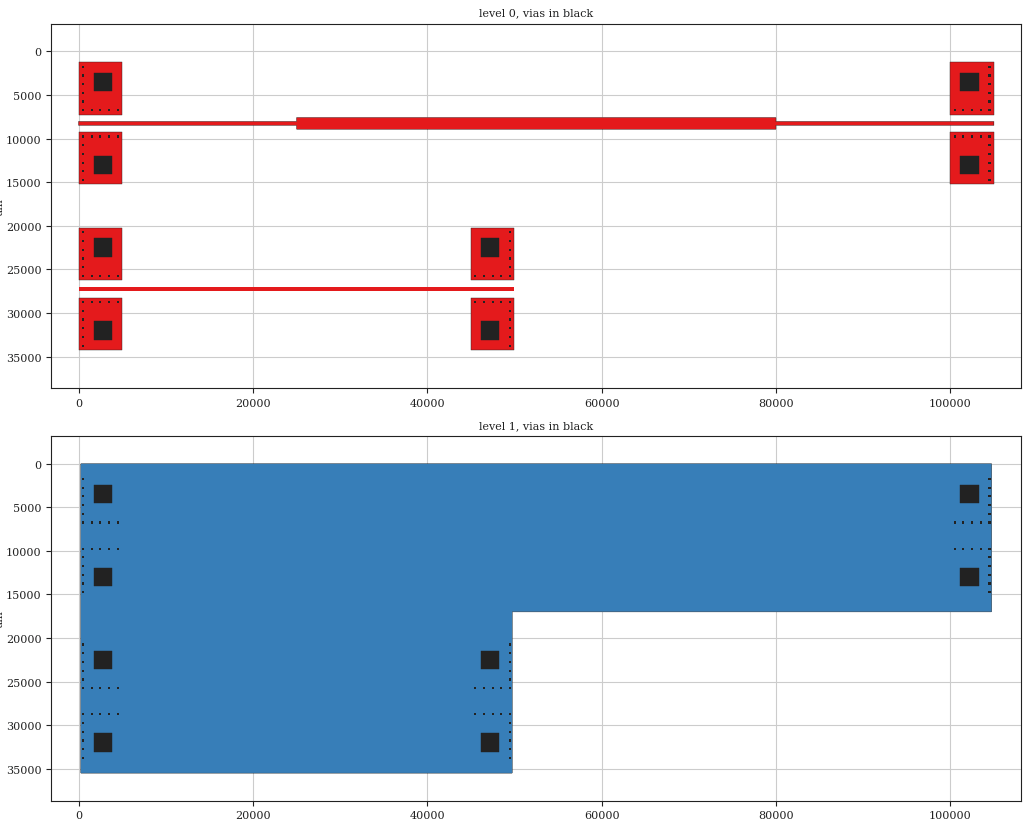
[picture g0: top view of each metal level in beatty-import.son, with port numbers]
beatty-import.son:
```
FTYP SONPROJ 19 ! Sonnet Project File
VER 18.56
HEADER
LIC antikernel2.1.51813
DAT 12/23/2022 09:45:33
BUILT_BY_CREATED xgeom 18.56 12/18/2022 19:56:31
BUILT_BY_SAVED sonnet 18.56
MDATE 12/23/2022 09:45:33
HDATE 12/23/2022 09:45:33
ANN Created by dxfgeo, Sonnet Software Inc.
END HEADER
DIM
ANG DEG
CAP PF
CON /OH
FREQ GHZ
IND NH
LNG UM
RES OH
END DIM
CONTROL
VARSWP
OPTIONS  -dj
SPEED 1
CACHE_ABS 2
Q_ACC N
END CONTROL
GEO
TMET "Lossless" 0 SUP 0 0 0 0
BMET "Lossless" 0 SUP 0 0 0 0
MET "Copper_1oz+plated_thick_up" 1 TMM 58000000 0.5 43.2 2
MET "Copper_1oz+plated_thin" 4 NOR 58000000 0.5 43.2 
MET "Copper_0.5oz_thin" 2 NOR 58000000 0.5 17.5 
MET "Copper_1oz+plated_thick_down" 3 TMM 58000000 0.5 43.2 2 CDVY TDWN
BOX 4 105000 35500 8400 2840 20 0
      10000 1 1 0 0 0 0 "Air"
      202.1 3.61 1 0.0092 0 0 0 "Isola_FR408HR"
      1193.8 3.61 1 0.0092 0 0 0 "Isola_FR408HR"
      202.1 3.61 1 0.0092 0 0 0 "Isola_FR408HR"
      10000 1 1 0 0 0 0 "Air"
TECHLAY METAL F.Cu_thick <UNSPECIFIED> -1 -65534 CAD F.Cu drawing 
0 0 0 N 112 1 1 100 100 0 0 0 Y
END
END
TECHLAY METAL F.Cu_thin L1D0 -2 -65534 CAD F.Cu_thin drawing 
0 0 1 N 114 1 1 100 100 0 0 0 Y
END
END
TECHLAY VIA Via1 L3D0 -7 -65534 CAD Via1 drawing 
VIA POLYGON
0 0 -1 N 116 1 1 100 100 0 0 0 Y
TOLEVEL 3 RING NOCOVERS
END
END
TECHLAY METAL In1.Cu L2D0 -3 -65534 CAD In1.Cu drawing 
1 0 2 N 119 1 1 100 100 0 0 0 Y
END
END
TECHLAY METAL In2.Cu <UNSPECIFIED> -4 -65534 CAD In2.Cu drawing 
2 0 2 N 122 1 1 100 100 0 0 0 Y
END
END
TECHLAY METAL B.Cu_thick <UNSPECIFIED> -5 -65534 CAD B.Cu drawing 
3 0 3 N 125 1 1 100 100 0 0 0 Y
END
END
TECHLAY METAL B.Cu_thin <UNSPECIFIED> -6 -65534 CAD B.Cu_thin drawing 
3 0 1 N 127 1 1 100 100 0 0 0 Y
END
END
LORGN 0 35500 U 
NUM 99
0 5 1 N 1 1 1 100 100 0 0 0 Y
USER_DAT FromImport
0 34250
0 28250
5000 28250
5000 34250
0 34250
END
0 5 1 N 2 1 1 100 100 0 0 0 Y
USER_DAT FromImport
45000 34250
45000 28250
50000 28250
50000 34250
45000 34250
END
0 5 1 N 3 1 1 100 100 0 0 0 Y
USER_DAT FromImport
0 27475
0 27025
50000 27025
50000 27475
0 27475
END
0 5 1 N 4 1 1 100 100 0 0 0 Y
USER_DAT FromImport
0 26250
0 20250
5000 20250
5000 26250
0 26250
END
0 5 1 N 5 1 1 100 100 0 0 0 Y
USER_DAT FromImport
45000 26250
45000 20250
50000 20250
50000 26250
45000 26250
END
0 5 1 N 6 1 1 100 100 0 0 0 Y
USER_DAT FromImport
0 15250
0 9250
5000 9250
5000 15250
0 15250
END
0 5 1 N 7 1 1 100 100 0 0 0 Y
USER_DAT FromImport
100000 15250
100000 9250
105000 9250
105000 15250
100000 15250
END
0 21 1 N 8 1 1 100 100 0 0 0 Y
USER_DAT FromImport
25049 8925
25014 8911
25000 8876
25000 8475
0 8475
0 8025
25000 8025
25000 7624
25014 7589
25049 7575
79951 7575
79986 7589
80000 7624
80000 8025
105000 8025
105000 8475
80000 8475
80000 8876
79986 8911
79951 8925
25049 8925
END
0 5 1 N 9 1 1 100 100 0 0 0 Y
USER_DAT FromImport
0 7250
0 1250
5000 1250
5000 7250
0 7250
END
0 5 1 N 10 1 1 100 100 0 0 0 Y
USER_DAT FromImport
100000 7250
100000 1250
105000 1250
105000 7250
100000 7250
END
VIA POLYGON
0 5 -1 N 12 1 1 100 100 0 0 0 Y
TOLEVEL 3 RING NOCOVERS
USER_DAT FromImport
375 33875
375 33625
625 33625
625 33875
375 33875
END
VIA POLYGON
0 5 -1 N 13 1 1 100 100 0 0 0 Y
TOLEVEL 3 RING NOCOVERS
USER_DAT FromImport
49375 33875
49375 33625
49625 33625
49625 33875
49375 33875
END
VIA POLYGON
0 5 -1 N 14 1 1 100 100 0 0 0 Y
TOLEVEL 3 RING NOCOVERS
USER_DAT FromImport
375 32875
375 32625
625 32625
625 32875
375 32875
END
VIA POLYGON
0 5 -1 N 15 1 1 100 100 0 0 0 Y
TOLEVEL 3 RING NOCOVERS
USER_DAT FromImport
49375 32875
49375 32625
49625 32625
49625 32875
49375 32875
END
VIA POLYGON
0 5 -1 N 16 1 1 100 100 0 0 0 Y
TOLEVEL 3 RING NOCOVERS
USER_DAT FromImport
375 31875
375 31625
625 31625
625 31875
375 31875
END
VIA POLYGON
0 5 -1 N 17 1 1 100 100 0 0 0 Y
TOLEVEL 3 RING NOCOVERS
USER_DAT FromImport
49375 31875
49375 31625
49625 31625
49625 31875
49375 31875
END
VIA POLYGON
0 5 -1 N 18 1 1 100 100 0 0 0 Y
TOLEVEL 3 RING NOCOVERS
USER_DAT FromImport
1750 33050
1750 30950
3850 30950
3850 33050
1750 33050
END
VIA POLYGON
0 5 -1 N 19 1 1 100 100 0 0 0 Y
TOLEVEL 3 RING NOCOVERS
USER_DAT FromImport
46150 33050
46150 30950
48250 30950
48250 33050
46150 33050
END
VIA POLYGON
0 5 -1 N 20 1 1 100 100 0 0 0 Y
TOLEVEL 3 RING NOCOVERS
USER_DAT FromImport
375 30875
375 30625
625 30625
625 30875
375 30875
END
VIA POLYGON
0 5 -1 N 21 1 1 100 100 0 0 0 Y
TOLEVEL 3 RING NOCOVERS
USER_DAT FromImport
49375 30875
49375 30625
49625 30625
49625 30875
49375 30875
END
VIA POLYGON
0 5 -1 N 22 1 1 100 100 0 0 0 Y
TOLEVEL 3 RING NOCOVERS
USER_DAT FromImport
375 29875
375 29625
625 29625
625 29875
375 29875
END
VIA POLYGON
0 5 -1 N 23 1 1 100 100 0 0 0 Y
TOLEVEL 3 RING NOCOVERS
USER_DAT FromImport
49375 29875
49375 29625
49625 29625
49625 29875
49375 29875
END
VIA POLYGON
0 5 -1 N 24 1 1 100 100 0 0 0 Y
TOLEVEL 3 RING NOCOVERS
USER_DAT FromImport
375 28875
375 28625
625 28625
625 28875
375 28875
END
VIA POLYGON
0 5 -1 N 25 1 1 100 100 0 0 0 Y
TOLEVEL 3 RING NOCOVERS
USER_DAT FromImport
1375 28875
1375 28625
1625 28625
1625 28875
1375 28875
END
VIA POLYGON
0 5 -1 N 26 1 1 100 100 0 0 0 Y
TOLEVEL 3 RING NOCOVERS
USER_DAT FromImport
2375 28875
2375 28625
2625 28625
2625 28875
2375 28875
END
VIA POLYGON
0 5 -1 N 27 1 1 100 100 0 0 0 Y
TOLEVEL 3 RING NOCOVERS
USER_DAT FromImport
3375 28875
3375 28625
3625 28625
3625 28875
3375 28875
END
VIA POLYGON
0 5 -1 N 28 1 1 100 100 0 0 0 Y
TOLEVEL 3 RING NOCOVERS
USER_DAT FromImport
4375 28875
4375 28625
4625 28625
4625 28875
4375 28875
END
VIA POLYGON
0 5 -1 N 29 1 1 100 100 0 0 0 Y
TOLEVEL 3 RING NOCOVERS
USER_DAT FromImport
45375 28875
45375 28625
45625 28625
45625 28875
45375 28875
END
VIA POLYGON
0 5 -1 N 30 1 1 100 100 0 0 0 Y
TOLEVEL 3 RING NOCOVERS
USER_DAT FromImport
46375 28875
46375 28625
46625 28625
46625 28875
46375 28875
END
VIA POLYGON
0 5 -1 N 31 1 1 100 100 0 0 0 Y
TOLEVEL 3 RING NOCOVERS
USER_DAT FromImport
47375 28875
47375 28625
47625 28625
47625 28875
47375 28875
END
VIA POLYGON
0 5 -1 N 32 1 1 100 100 0 0 0 Y
TOLEVEL 3 RING NOCOVERS
USER_DAT FromImport
48375 28875
48375 28625
48625 28625
48625 28875
48375 28875
END
VIA POLYGON
0 5 -1 N 33 1 1 100 100 0 0 0 Y
TOLEVEL 3 RING NOCOVERS
USER_DAT FromImport
49375 28875
49375 28625
49625 28625
49625 28875
49375 28875
END
VIA POLYGON
0 5 -1 N 34 1 1 100 100 0 0 0 Y
TOLEVEL 3 RING NOCOVERS
USER_DAT FromImport
375 25875
375 25625
625 25625
625 25875
375 25875
END
VIA POLYGON
0 5 -1 N 35 1 1 100 100 0 0 0 Y
TOLEVEL 3 RING NOCOVERS
USER_DAT FromImport
1375 25875
1375 25625
1625 25625
1625 25875
1375 25875
END
VIA POLYGON
0 5 -1 N 36 1 1 100 100 0 0 0 Y
TOLEVEL 3 RING NOCOVERS
USER_DAT FromImport
2375 25875
2375 25625
2625 25625
2625 25875
2375 25875
END
VIA POLYGON
0 5 -1 N 37 1 1 100 100 0 0 0 Y
TOLEVEL 3 RING NOCOVERS
USER_DAT FromImport
3375 25875
3375 25625
3625 25625
3625 25875
3375 25875
END
VIA POLYGON
0 5 -1 N 38 1 1 100 100 0 0 0 Y
TOLEVEL 3 RING NOCOVERS
USER_DAT FromImport
4375 25875
4375 25625
4625 25625
4625 25875
4375 25875
END
VIA POLYGON
0 5 -1 N 39 1 1 100 100 0 0 0 Y
TOLEVEL 3 RING NOCOVERS
USER_DAT FromImport
45375 25875
45375 25625
45625 25625
45625 25875
45375 25875
END
VIA POLYGON
0 5 -1 N 40 1 1 100 100 0 0 0 Y
TOLEVEL 3 RING NOCOVERS
USER_DAT FromImport
46375 25875
46375 25625
46625 25625
46625 25875
46375 25875
END
VIA POLYGON
0 5 -1 N 41 1 1 100 100 0 0 0 Y
TOLEVEL 3 RING NOCOVERS
USER_DAT FromImport
47375 25875
47375 25625
47625 25625
47625 25875
47375 25875
END
VIA POLYGON
0 5 -1 N 42 1 1 100 100 0 0 0 Y
TOLEVEL 3 RING NOCOVERS
USER_DAT FromImport
48375 25875
48375 25625
48625 25625
48625 25875
48375 25875
END
VIA POLYGON
0 5 -1 N 43 1 1 100 100 0 0 0 Y
TOLEVEL 3 RING NOCOVERS
USER_DAT FromImport
49375 25875
49375 25625
49625 25625
49625 25875
49375 25875
END
VIA POLYGON
0 5 -1 N 44 1 1 100 100 0 0 0 Y
TOLEVEL 3 RING NOCOVERS
USER_DAT FromImport
375 24875
375 24625
625 24625
625 24875
375 24875
END
VIA POLYGON
0 5 -1 N 45 1 1 100 100 0 0 0 Y
TOLEVEL 3 RING NOCOVERS
USER_DAT FromImport
49375 24875
49375 24625
49625 24625
49625 24875
49375 24875
END
VIA POLYGON
0 5 -1 N 46 1 1 100 100 0 0 0 Y
TOLEVEL 3 RING NOCOVERS
USER_DAT FromImport
375 23875
375 23625
625 23625
625 23875
375 23875
END
VIA POLYGON
0 5 -1 N 47 1 1 100 100 0 0 0 Y
TOLEVEL 3 RING NOCOVERS
USER_DAT FromImport
49375 23875
49375 23625
49625 23625
49625 23875
49375 23875
END
VIA POLYGON
0 5 -1 N 48 1 1 100 100 0 0 0 Y
TOLEVEL 3 RING NOCOVERS
USER_DAT FromImport
375 22875
375 22625
625 22625
625 22875
375 22875
END
VIA POLYGON
0 5 -1 N 49 1 1 100 100 0 0 0 Y
TOLEVEL 3 RING NOCOVERS
USER_DAT FromImport
49375 22875
49375 22625
49625 22625
49625 22875
49375 22875
END
VIA POLYGON
0 5 -1 N 50 1 1 100 100 0 0 0 Y
TOLEVEL 3 RING NOCOVERS
USER_DAT FromImport
375 21875
375 21625
625 21625
625 21875
375 21875
END
VIA POLYGON
0 5 -1 N 51 1 1 100 100 0 0 0 Y
TOLEVEL 3 RING NOCOVERS
USER_DAT FromImport
49375 21875
49375 21625
49625 21625
49625 21875
49375 21875
END
VIA POLYGON
0 5 -1 N 52 1 1 100 100 0 0 0 Y
TOLEVEL 3 RING NOCOVERS
USER_DAT FromImport
1750 23550
1750 21450
3850 21450
3850 23550
1750 23550
END
VIA POLYGON
0 5 -1 N 53 1 1 100 100 0 0 0 Y
TOLEVEL 3 RING NOCOVERS
USER_DAT FromImport
46150 23550
46150 21450
48250 21450
48250 23550
46150 23550
END
VIA POLYGON
0 5 -1 N 54 1 1 100 100 0 0 0 Y
TOLEVEL 3 RING NOCOVERS
USER_DAT FromImport
375 20875
375 20625
625 20625
625 20875
375 20875
END
VIA POLYGON
0 5 -1 N 55 1 1 100 100 0 0 0 Y
TOLEVEL 3 RING NOCOVERS
USER_DAT FromImport
49375 20875
49375 20625
49625 20625
49625 20875
49375 20875
END
VIA POLYGON
0 5 -1 N 56 1 1 100 100 0 0 0 Y
TOLEVEL 3 RING NOCOVERS
USER_DAT FromImport
375 14875
375 14625
625 14625
625 14875
375 14875
END
VIA POLYGON
0 5 -1 N 57 1 1 100 100 0 0 0 Y
TOLEVEL 3 RING NOCOVERS
USER_DAT FromImport
104375 14875
104375 14625
104625 14625
104625 14875
104375 14875
END
VIA POLYGON
0 5 -1 N 58 1 1 100 100 0 0 0 Y
TOLEVEL 3 RING NOCOVERS
USER_DAT FromImport
375 13875
375 13625
625 13625
625 13875
375 13875
END
VIA POLYGON
0 5 -1 N 59 1 1 100 100 0 0 0 Y
TOLEVEL 3 RING NOCOVERS
USER_DAT FromImport
104375 13875
104375 13625
104625 13625
104625 13875
104375 13875
END
VIA POLYGON
0 5 -1 N 60 1 1 100 100 0 0 0 Y
TOLEVEL 3 RING NOCOVERS
USER_DAT FromImport
375 12875
375 12625
625 12625
625 12875
375 12875
END
VIA POLYGON
0 5 -1 N 61 1 1 100 100 0 0 0 Y
TOLEVEL 3 RING NOCOVERS
USER_DAT FromImport
104375 12875
104375 12625
104625 12625
104625 12875
104375 12875
END
VIA POLYGON
0 5 -1 N 62 1 1 100 100 0 0 0 Y
TOLEVEL 3 RING NOCOVERS
USER_DAT FromImport
1750 14050
1750 11950
3850 11950
3850 14050
1750 14050
END
VIA POLYGON
0 5 -1 N 63 1 1 100 100 0 0 0 Y
TOLEVEL 3 RING NOCOVERS
USER_DAT FromImport
101150 14050
101150 11950
103250 11950
103250 14050
101150 14050
END
VIA POLYGON
0 5 -1 N 64 1 1 100 100 0 0 0 Y
TOLEVEL 3 RING NOCOVERS
USER_DAT FromImport
375 11875
375 11625
625 11625
625 11875
375 11875
END
VIA POLYGON
0 5 -1 N 65 1 1 100 100 0 0 0 Y
TOLEVEL 3 RING NOCOVERS
USER_DAT FromImport
104375 11875
104375 11625
104625 11625
104625 11875
104375 11875
END
VIA POLYGON
0 5 -1 N 66 1 1 100 100 0 0 0 Y
TOLEVEL 3 RING NOCOVERS
USER_DAT FromImport
375 10875
375 10625
625 10625
625 10875
375 10875
END
VIA POLYGON
0 5 -1 N 67 1 1 100 100 0 0 0 Y
TOLEVEL 3 RING NOCOVERS
USER_DAT FromImport
104375 10875
104375 10625
104625 10625
104625 10875
104375 10875
END
VIA POLYGON
0 5 -1 N 68 1 1 100 100 0 0 0 Y
TOLEVEL 3 RING NOCOVERS
USER_DAT FromImport
375 9875
375 9625
625 9625
625 9875
375 9875
END
VIA POLYGON
0 5 -1 N 69 1 1 100 100 0 0 0 Y
TOLEVEL 3 RING NOCOVERS
USER_DAT FromImport
1375 9875
1375 9625
1625 9625
1625 9875
1375 9875
END
VIA POLYGON
0 5 -1 N 70 1 1 100 100 0 0 0 Y
TOLEVEL 3 RING NOCOVERS
USER_DAT FromImport
2375 9875
2375 9625
2625 9625
2625 9875
2375 9875
END
VIA POLYGON
0 5 -1 N 71 1 1 100 100 0 0 0 Y
TOLEVEL 3 RING NOCOVERS
USER_DAT FromImport
3375 9875
3375 9625
3625 9625
3625 9875
3375 9875
END
VIA POLYGON
0 5 -1 N 72 1 1 100 100 0 0 0 Y
TOLEVEL 3 RING NOCOVERS
USER_DAT FromImport
4375 9875
4375 9625
4625 9625
4625 9875
4375 9875
END
VIA POLYGON
0 5 -1 N 73 1 1 100 100 0 0 0 Y
TOLEVEL 3 RING NOCOVERS
USER_DAT FromImport
100375 9875
100375 9625
100625 9625
100625 9875
100375 9875
END
VIA POLYGON
0 5 -1 N 74 1 1 100 100 0 0 0 Y
TOLEVEL 3 RING NOCOVERS
USER_DAT FromImport
101375 9875
101375 9625
101625 9625
101625 9875
101375 9875
END
VIA POLYGON
0 5 -1 N 75 1 1 100 100 0 0 0 Y
TOLEVEL 3 RING NOCOVERS
USER_DAT FromImport
102375 9875
102375 9625
102625 9625
102625 9875
102375 9875
END
VIA POLYGON
0 5 -1 N 76 1 1 100 100 0 0 0 Y
TOLEVEL 3 RING NOCOVERS
USER_DAT FromImport
103375 9875
103375 9625
103625 9625
103625 9875
103375 9875
END
VIA POLYGON
0 5 -1 N 77 1 1 100 100 0 0 0 Y
TOLEVEL 3 RING NOCOVERS
USER_DAT FromImport
104375 9875
104375 9625
104625 9625
104625 9875
104375 9875
END
VIA POLYGON
0 5 -1 N 78 1 1 100 100 0 0 0 Y
TOLEVEL 3 RING NOCOVERS
USER_DAT FromImport
375 6875
375 6625
625 6625
625 6875
375 6875
END
VIA POLYGON
0 5 -1 N 79 1 1 100 100 0 0 0 Y
TOLEVEL 3 RING NOCOVERS
USER_DAT FromImport
1375 6875
1375 6625
1625 6625
1625 6875
1375 6875
END
VIA POLYGON
0 5 -1 N 80 1 1 100 100 0 0 0 Y
TOLEVEL 3 RING NOCOVERS
USER_DAT FromImport
2375 6875
2375 6625
2625 6625
2625 6875
2375 6875
END
VIA POLYGON
0 5 -1 N 81 1 1 100 100 0 0 0 Y
TOLEVEL 3 RING NOCOVERS
USER_DAT FromImport
3375 6875
3375 6625
3625 6625
3625 6875
3375 6875
END
VIA POLYGON
0 5 -1 N 82 1 1 100 100 0 0 0 Y
TOLEVEL 3 RING NOCOVERS
USER_DAT FromImport
4375 6875
4375 6625
4625 6625
4625 6875
4375 6875
END
VIA POLYGON
0 5 -1 N 83 1 1 100 100 0 0 0 Y
TOLEVEL 3 RING NOCOVERS
USER_DAT FromImport
100375 6875
100375 6625
100625 6625
100625 6875
100375 6875
END
VIA POLYGON
0 5 -1 N 84 1 1 100 100 0 0 0 Y
TOLEVEL 3 RING NOCOVERS
USER_DAT FromImport
101375 6875
101375 6625
101625 6625
101625 6875
101375 6875
END
VIA POLYGON
0 5 -1 N 85 1 1 100 100 0 0 0 Y
TOLEVEL 3 RING NOCOVERS
USER_DAT FromImport
102375 6875
102375 6625
102625 6625
102625 6875
102375 6875
END
VIA POLYGON
0 5 -1 N 86 1 1 100 100 0 0 0 Y
TOLEVEL 3 RING NOCOVERS
USER_DAT FromImport
103375 6875
103375 6625
103625 6625
103625 6875
103375 6875
END
VIA POLYGON
0 5 -1 N 87 1 1 100 100 0 0 0 Y
TOLEVEL 3 RING NOCOVERS
USER_DAT FromImport
104375 6875
104375 6625
104625 6625
104625 6875
104375 6875
END
VIA POLYGON
0 5 -1 N 88 1 1 100 100 0 0 0 Y
TOLEVEL 3 RING NOCOVERS
USER_DAT FromImport
375 5875
375 5625
625 5625
625 5875
375 5875
END
VIA POLYGON
0 5 -1 N 89 1 1 100 100 0 0 0 Y
TOLEVEL 3 RING NOCOVERS
USER_DAT FromImport
104375 5875
104375 5625
104625 5625
104625 5875
104375 5875
END
VIA POLYGON
0 5 -1 N 90 1 1 100 100 0 0 0 Y
TOLEVEL 3 RING NOCOVERS
USER_DAT FromImport
375 4875
375 4625
625 4625
625 4875
375 4875
END
VIA POLYGON
0 5 -1 N 91 1 1 100 100 0 0 0 Y
TOLEVEL 3 RING NOCOVERS
USER_DAT FromImport
104375 4875
104375 4625
104625 4625
104625 4875
104375 4875
END
VIA POLYGON
0 5 -1 N 92 1 1 100 100 0 0 0 Y
TOLEVEL 3 RING NOCOVERS
USER_DAT FromImport
375 3875
375 3625
625 3625
625 3875
375 3875
END
VIA POLYGON
0 5 -1 N 93 1 1 100 100 0 0 0 Y
TOLEVEL 3 RING NOCOVERS
USER_DAT FromImport
104375 3875
104375 3625
104625 3625
104625 3875
104375 3875
END
VIA POLYGON
0 5 -1 N 94 1 1 100 100 0 0 0 Y
TOLEVEL 3 RING NOCOVERS
USER_DAT FromImport
375 2875
375 2625
625 2625
625 2875
375 2875
END
VIA POLYGON
0 5 -1 N 95 1 1 100 100 0 0 0 Y
TOLEVEL 3 RING NOCOVERS
USER_DAT FromImport
104375 2875
104375 2625
104625 2625
104625 2875
104375 2875
END
VIA POLYGON
0 5 -1 N 96 1 1 100 100 0 0 0 Y
TOLEVEL 3 RING NOCOVERS
USER_DAT FromImport
1750 4550
1750 2450
3850 2450
3850 4550
1750 4550
END
VIA POLYGON
0 5 -1 N 97 1 1 100 100 0 0 0 Y
TOLEVEL 3 RING NOCOVERS
USER_DAT FromImport
101150 4550
101150 2450
103250 2450
103250 4550
101150 4550
END
VIA POLYGON
0 5 -1 N 98 1 1 100 100 0 0 0 Y
TOLEVEL 3 RING NOCOVERS
USER_DAT FromImport
375 1875
375 1625
625 1625
625 1875
375 1875
END
VIA POLYGON
0 5 -1 N 99 1 1 100 100 0 0 0 Y
TOLEVEL 3 RING NOCOVERS
USER_DAT FromImport
104375 1875
104375 1625
104625 1625
104625 1875
104375 1875
END
1 17 2 N 11 1 1 100 100 0 0 0 Y
USER_DAT FromImport
312 35500
268 35482
250 35439
250 62
268 18
312 0
104689 0
104732 18
104750 62
104750 16939
104732 16982
104689 17000
49750 17000
49750 35439
49732 35482
49689 35500
312 35500
END
END GEO
VARSWP
ENABLED Y
FREQ Y AY ABS_ENTRY 0.01 16.0 -1 300 
END
END VARSWP
```
